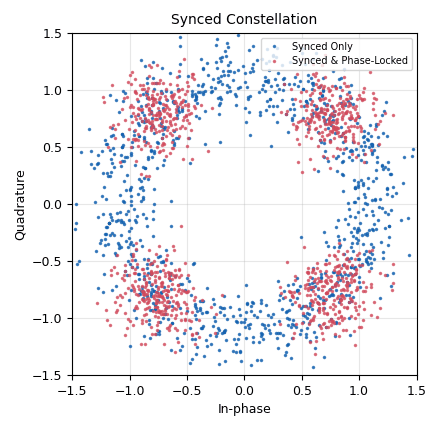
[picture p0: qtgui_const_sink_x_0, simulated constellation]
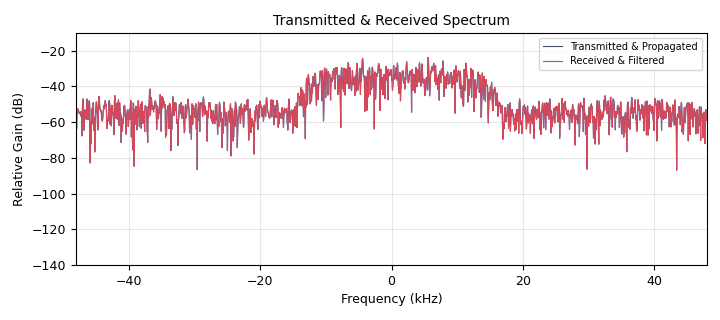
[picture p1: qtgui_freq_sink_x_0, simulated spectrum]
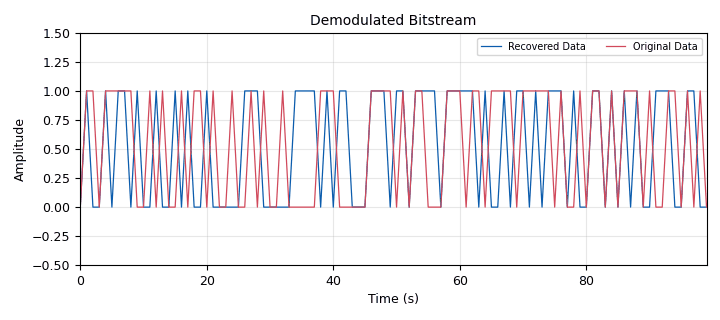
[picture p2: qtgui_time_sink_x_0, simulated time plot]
options:
  parameters:
    author: Barry Duggan, modified by Gary Schafer
    category: Custom
    generate_options: qt_gui
    id: qpsk_modem
    output_language: python
    title: QPSK Modulator / Demodulator (modem)
  states: {}

blocks:
- name: delay
  id: variable_qtgui_range
  parameters:
    comment: |-
      This is used to align
      the transmitted and
      received bitstreams.
    gui_hint: 1,10,1,10
    label: Delay
    orient: Qt.Horizontal
    start: '0'
    step: '1'
    stop: '1000'
    value: '52'
  states: {}
- name: epsilon
  id: variable_qtgui_range
  parameters:
    comment: |-
      Sets timing difference
      between transmitter
      and receiver due to
      variations in clocks.
    gui_hint: 0,10,1,10
    label: 'Channel: Timing Offset'
    orient: Qt.Horizontal
    start: '0.999'
    step: '0.0001'
    stop: '1.001'
    value: '1.0005'
  states: {}
- name: excess_bw
  id: variable
  parameters:
    value: '0.35'
  states: {}
- name: freq_offset
  id: variable_qtgui_range
  parameters:
    comment: |-
      This accounts for differences
      in local oscillators as well as
      static Doppler shift.
    gui_hint: 1,0,1,10
    label: 'Channel: Frequency Offset'
    orient: Qt.Horizontal
    start: '-0.1'
    step: '0.001'
    stop: '0.1'
    value: '0.01'
  states: {}
- name: noise_volt
  id: variable_qtgui_range
  parameters:
    comment: |-
      Sets noise level of added
      Gaussian white noise (AWGN)
      added during transmission
      as well as antenna noise and
      LNA of receiver.
    gui_hint: 0,0,1,10
    label: 'Channel: Noise Voltage'
    orient: Qt.Horizontal
    start: '0'
    step: '0.01'
    stop: '1'
    value: '0.2'
  states: {}
- name: phase_bw
  id: variable
  parameters:
    value: '0.0628'
  states: {}
- name: qpsk
  id: variable_constellation_rect
  parameters:
    comment: |-
      Symbol Map: [0,1,3,2] <- This is Gray coding
      Constellation Points: [-0.707-0.707j, 0.707-0.707j, +0.707+0.707j, -0.707+0.707j]
    const_points: '[-0.707-0.707j, 0.707-0.707j, +0.707+0.707j, -0.707+0.707j]'
    imag_sect: '2'
    real_sect: '2'
    rot_sym: '2'
    sym_map: '[0, 1, 3, 2]'
    w_imag_sect: '1'
    w_real_sect: '1'
  states: {}
- name: samp_rate
  id: variable
  parameters:
    value: 32000*3
  states: {}
- name: sps
  id: variable
  parameters:
    value: '4'
  states: {}
- name: analog_random_source_x_0
  id: analog_random_source_x
  parameters:
    max: '256'
    min: '0'
    num_samps: '30000'
    repeat: 'True'
    type: byte
  states: {}
- name: blocks_char_to_float_0_0
  id: blocks_char_to_float
  parameters:
    scale: '1'
  states: {}
- name: blocks_char_to_float_0_0_0
  id: blocks_char_to_float
  parameters:
    scale: '1'
  states: {}
- name: blocks_delay_0
  id: blocks_delay
  parameters:
    delay: int(delay)
    type: float
  states: {}
- name: blocks_throttle_0
  id: blocks_throttle
  parameters:
    samples_per_second: samp_rate
    type: complex
  states: {}
- name: blocks_throttle_0_0
  id: blocks_throttle
  parameters:
    samples_per_second: samp_rate
    type: complex
  states: {state: disabled}
- name: blocks_unpack_k_bits_bb_0
  id: blocks_unpack_k_bits_bb
  parameters:
    k: '2'
  states: {}
- name: blocks_unpack_k_bits_bb_0_0
  id: blocks_unpack_k_bits_bb
  parameters:
    k: '8'
  states: {}
- name: blocks_vector_source_x_0
  id: blocks_vector_source_x
  parameters:
    repeat: 'True'
    type: byte
    vector: '[1, 1, 0,1,0,1,0,0,0,0,0]'
  states: {state: disabled}
- name: channels_channel_model_0
  id: channels_channel_model
  parameters:
    comment: Epsilon is timing offset
    epsilon: epsilon
    freq_offset: freq_offset
    noise_voltage: noise_volt
    seed: '0'
    taps: '1'
  states: {}
- name: digital_constellation_decoder_cb_0
  id: digital_constellation_decoder_cb
  parameters:
    constellation: qpsk
  states: {}
- name: digital_constellation_modulator_0
  id: digital_constellation_modulator
  parameters:
    constellation: qpsk
    differential: 'True'
    excess_bw: excess_bw
    samples_per_symbol: sps
  states: {}
- name: digital_costas_loop_cc_0
  id: digital_costas_loop_cc
  parameters:
    order: '4'
    w: phase_bw
  states: {}
- name: digital_diff_decoder_bb_0
  id: digital_diff_decoder_bb
  parameters:
    modulus: '4'
  states: {}
- name: digital_map_bb_0
  id: digital_map_bb
  parameters:
    comment: Gray coding
    map: '[0,1,3,2]'
  states: {}
- name: digital_symbol_sync_xx_0
  id: digital_symbol_sync_xx
  parameters:
    damping: '1.0'
    loop_bw: '0.045'
    max_dev: '1.5'
    osps: '1'
    resamp_type: digital.IR_MMSE_8TAP
    sps: sps
    ted_gain: '1.0'
    ted_type: digital.TED_SIGNAL_TIMES_SLOPE_ML
    type: cc
  states: {}
- name: qtgui_const_sink_x_0
  id: qtgui_const_sink_x
  parameters:
    alpha2: '1'
    grid: 'True'
    gui_hint: 2,0,10,10
    label1: Synced Only
    label2: Synced & Phase-Locked
    name: Synced Constellation
    nconnections: '2'
    size: '1024'
    type: complex
    xmax: '1.5'
    xmin: '-1.5'
    ymax: '1.5'
    ymin: '-1.5'
  states: {}
- name: qtgui_freq_sink_x_0
  id: qtgui_freq_sink_x
  parameters:
    bw: samp_rate
    fc: '0'
    fftsize: '2048'
    gui_hint: 12,0,10,20
    label1: Transmitted & Propagated
    label2: Received & Filtered
    name: Transmitted & Received Spectrum
    nconnections: '2'
    type: complex
    wintype: firdes.WIN_BLACKMAN_hARRIS
    ymax: '-10'
  states: {}
- name: qtgui_time_sink_x_0
  id: qtgui_time_sink_x
  parameters:
    gui_hint: 2,10,10,10
    label1: Recovered Data
    label2: Original Data
    name: Demodulated Bitstream
    nconnections: '2'
    size: '100'
    srate: '1'
    type: float
    ymax: '1.5'
    ymin: '-0.5'
  states: {}
- name: root_raised_cosine_filter_0
  id: root_raised_cosine_filter
  parameters:
    alpha: excess_bw
    comment: |-
      Symbol Rate: samp_rate/sps
      Alpha: excess_bw
      Num Taps: 11*sps
    decim: '1'
    gain: '1'
    ntaps: 11*samp_rate
    samp_rate: samp_rate
    sym_rate: samp_rate/sps
    type: fir_filter_ccf
  states: {state: disabled}
- name: virtual_sink_0
  id: virtual_sink
  parameters:
    stream_id: filtered_signal
  states: {}
- name: virtual_sink_1
  id: virtual_sink
  parameters:
    stream_id: decoded_signal
  states: {}
- name: virtual_sink_2
  id: virtual_sink
  parameters:
    stream_id: t1
  states: {}
- name: virtual_sink_3
  id: virtual_sink
  parameters:
    stream_id: mod_signal
  states: {}
- name: virtual_source_0
  id: virtual_source
  parameters:
    stream_id: filtered_signal
  states: {}
- name: virtual_source_0_0
  id: virtual_source
  parameters:
    stream_id: filtered_signal
  states: {}
- name: virtual_source_1
  id: virtual_source
  parameters:
    stream_id: decoded_signal
  states: {}
- name: virtual_source_2
  id: virtual_source
  parameters:
    stream_id: t1
  states: {}

connections:
- [analog_random_source_x_0, '0', digital_constellation_modulator_0, '0']
- [analog_random_source_x_0, '0', virtual_sink_2, '0']
- [blocks_char_to_float_0_0, '0', qtgui_time_sink_x_0, '0']
- [blocks_char_to_float_0_0_0, '0', blocks_delay_0, '0']
- [blocks_delay_0, '0', qtgui_time_sink_x_0, '1']
- [blocks_throttle_0, '0', blocks_throttle_0_0, '0']
- [blocks_throttle_0, '0', channels_channel_model_0, '0']
- [blocks_throttle_0_0, '0', qtgui_freq_sink_x_0, '0']
- [blocks_throttle_0_0, '0', virtual_sink_0, '0']
- [blocks_unpack_k_bits_bb_0, '0', blocks_char_to_float_0_0, '0']
- [blocks_unpack_k_bits_bb_0_0, '0', blocks_char_to_float_0_0_0, '0']
- [channels_channel_model_0, '0', qtgui_freq_sink_x_0, '0']
- [channels_channel_model_0, '0', root_raised_cosine_filter_0, '0']
- [channels_channel_model_0, '0', virtual_sink_0, '0']
- [digital_constellation_decoder_cb_0, '0', virtual_sink_1, '0']
- [digital_constellation_modulator_0, '0', blocks_throttle_0, '0']
- [digital_constellation_modulator_0, '0', virtual_sink_3, '0']
- [digital_costas_loop_cc_0, '0', digital_constellation_decoder_cb_0, '0']
- [digital_costas_loop_cc_0, '0', qtgui_const_sink_x_0, '1']
- [digital_diff_decoder_bb_0, '0', digital_map_bb_0, '0']
- [digital_map_bb_0, '0', blocks_unpack_k_bits_bb_0, '0']
- [digital_symbol_sync_xx_0, '0', digital_costas_loop_cc_0, '0']
- [digital_symbol_sync_xx_0, '0', qtgui_const_sink_x_0, '0']
- [root_raised_cosine_filter_0, '0', virtual_sink_0, '0']
- [virtual_source_0, '0', digital_symbol_sync_xx_0, '0']
- [virtual_source_0_0, '0', qtgui_freq_sink_x_0, '1']
- [virtual_source_1, '0', digital_diff_decoder_bb_0, '0']
- [virtual_source_2, '0', blocks_unpack_k_bits_bb_0_0, '0']

metadata:
  file_format: 1
